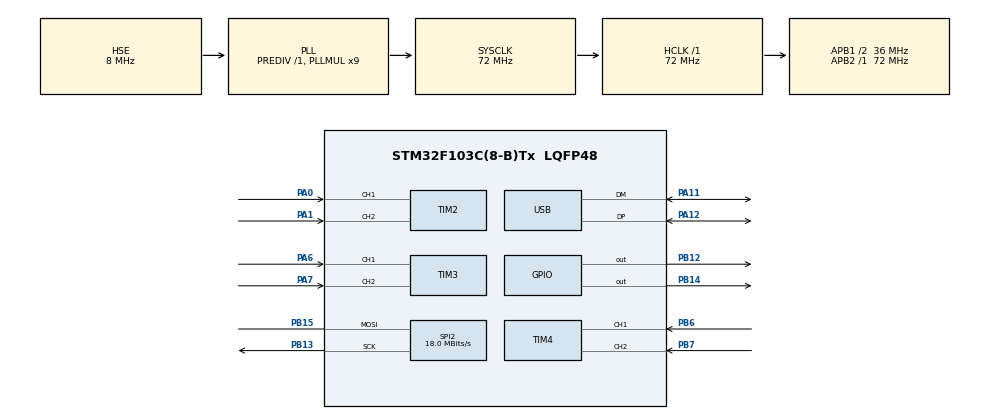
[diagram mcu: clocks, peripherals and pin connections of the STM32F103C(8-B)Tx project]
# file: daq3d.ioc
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Mcu.Family=STM32F1
Mcu.Name=STM32F103C(8-B)Tx
Mcu.Package=LQFP48
NVIC.PriorityGroup=NVIC_PRIORITYGROUP_4
NVIC.USB_LP_CAN1_RX0_IRQn=true\:0\:0\:false\:false\:true\:false\:true\:true
PA0-WKUP.Signal=S_TIM2_CH1_ETR
PA1.Signal=S_TIM2_CH2
PA11.Mode=Device
PA11.Signal=USB_DM
PA12.Mode=Device
PA12.Signal=USB_DP
PA13.Mode=Serial_Wire
PA13.Signal=SYS_JTMS-SWDIO
PA14.Mode=Serial_Wire
PA14.Signal=SYS_JTCK-SWCLK
PA6.Signal=S_TIM3_CH1
PA7.Signal=S_TIM3_CH2
PB12.Signal=GPIO_Output
PB13.Mode=Simplex_Bidirectional_Master
PB13.Signal=SPI2_SCK
PB14.Signal=GPIO_Output
PB15.Mode=Simplex_Bidirectional_Master
PB15.Signal=SPI2_MOSI
PB6.Signal=S_TIM4_CH1
PB7.Signal=S_TIM4_CH2
PD0-OSC_IN.Mode=HSE-External-Oscillator
PD0-OSC_IN.Signal=RCC_OSC_IN
PD1-OSC_OUT.Mode=HSE-External-Oscillator
PD1-OSC_OUT.Signal=RCC_OSC_OUT
ProjectManager.HeapSize=0x200
ProjectManager.StackSize=0x400
ProjectManager.TargetToolchain=STM32CubeIDE
RCC.AHBFreq_Value=72000000
RCC.APB1CLKDivider=RCC_HCLK_DIV2
RCC.APB1Freq_Value=36000000
RCC.APB1TimFreq_Value=72000000
RCC.APB2Freq_Value=72000000
RCC.APB2TimFreq_Value=72000000
RCC.HCLKFreq_Value=72000000
RCC.PLLMUL=RCC_PLL_MUL9
RCC.SYSCLKFreq_VALUE=72000000
RCC.SYSCLKSource=RCC_SYSCLKSOURCE_PLLCLK
RCC.USBFreq_Value=48000000
RCC.USBPrescaler=RCC_USBCLKSOURCE_PLL_DIV1_5
SH.S_TIM2_CH1_ETR.0=TIM2_CH1,Encoder_Interface
SH.S_TIM2_CH2.0=TIM2_CH2,Encoder_Interface
SH.S_TIM3_CH1.0=TIM3_CH1,Encoder_Interface
SH.S_TIM3_CH2.0=TIM3_CH2,Encoder_Interface
SH.S_TIM4_CH1.0=TIM4_CH1,Encoder_Interface
SH.S_TIM4_CH2.0=TIM4_CH2,Encoder_Interface
SPI2.CalculateBaudRate=18.0 MBits/s
SPI2.DataSize=SPI_DATASIZE_16BIT
SPI2.Direction=SPI_DIRECTION_1LINE
SPI2.Mode=SPI_MODE_MASTER
SPI2.VirtualType=VM_MASTER
TIM2.EncoderMode=TIM_ENCODERMODE_TI12
TIM3.EncoderMode=TIM_ENCODERMODE_TI12
TIM4.EncoderMode=TIM_ENCODERMODE_TI12
USB_DEVICE.CLASS_NAME_FS=CDC
USB_DEVICE.VirtualMode=Cdc
USB_DEVICE.VirtualModeFS=Cdc_FS
VP_USB_DEVICE_VS_USB_DEVICE_CDC_FS.Mode=CDC_FS
board=custom

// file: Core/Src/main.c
/* USER CODE BEGIN Header */
/**
  ******************************************************************************
  * @file           : main.c
  * @brief          : Main program body
  ******************************************************************************
  * @attention
  *
  * Copyright (c) 2022 STMicroelectronics.
  * All rights reserved.
  *
  * This software is licensed under terms that can be found in the LICENSE file
  * in the root directory of this software component.
  * If no LICENSE file comes with this software, it is provided AS-IS.
  *
  ******************************************************************************
  */
/* USER CODE END Header */
#include "main.h"
#include "usb_device.h"

/* USER CODE BEGIN Includes */

#include "usbd_cdc_if.h"

/* USER CODE END Includes */

SPI_HandleTypeDef hspi2;

TIM_HandleTypeDef htim2;
TIM_HandleTypeDef htim3;
TIM_HandleTypeDef htim4;

/* USER CODE BEGIN PV */

int16_t encoder_value[3];

uint8_t received_data[6];
uint16_t dac_value_12bit[3];
uint16_t dac_command;

uint8_t flag=0;

uint32_t last_time;

/* USER CODE END PV */

void SystemClock_Config(void);
static void MX_GPIO_Init(void);
static void MX_SPI2_Init(void);
static void MX_TIM2_Init(void);
static void MX_TIM3_Init(void);
static void MX_TIM4_Init(void);

/* USER CODE BEGIN 0 */

// This function creates the needed command to send DAC chips
// The least 12 bits of value variable is evaluated, thus, assign 12 bit values to this variable.
uint16_t create_DAC_cmd(uint16_t value, uint8_t dac_ch)
{
	uint16_t data = 0;

	value = 4095 - value;

	data |= (dac_ch << 15); 	// If dac_ch is 0, then DAC_A, and if dac_ch is 1, DAC_B will be selected.
	data |= (0      << 14); 	// V_ref Input Buffer = Unbuffered
	data |= (1      << 13); 	// Output Gain is 1
	data |= (1      << 12);     // Active mode operation
	data |= (value & 0x0FFF);	// 12 bit of value assigned to data

	return data;
}

/* USER CODE END 0 */

int main(void)
{

  /* MCU Configuration--------------------------------------------------------*/

  /* Reset of all peripherals, Initializes the Flash interface and the Systick. */
  HAL_Init();

  /* Configure the system clock */
  SystemClock_Config();

  /* Initialize all configured peripherals */
  MX_GPIO_Init();
  MX_SPI2_Init();
  MX_TIM2_Init();
  MX_TIM3_Init();
  MX_TIM4_Init();
  MX_USB_DEVICE_Init();
  /* USER CODE BEGIN 2 */

	// Encoder Initialization
	HAL_TIM_Encoder_Start(&htim2, TIM_CHANNEL_ALL);
	HAL_TIM_Encoder_Start(&htim3, TIM_CHANNEL_ALL);
	HAL_TIM_Encoder_Start(&htim4, TIM_CHANNEL_ALL);

	// SPI Initialization
	HAL_GPIO_WritePin(GPIOB, GPIO_PIN_12 | GPIO_PIN_14, GPIO_PIN_SET); // Chip selects are set HIGH

  /* USER CODE END 2 */

  /* Infinite loop */
  /* USER CODE BEGIN WHILE */
  while (1)
  {
		if (flag == 1) {

			///////////////////////////////WRITE to DAC///////////////////////////////////
			// Reading 12-bit DAC values from MATLAB
			dac_value_12bit[0] = (received_data[0] | (received_data[1] << 8));
			dac_value_12bit[1] = (received_data[2] | (received_data[3] << 8));
			dac_value_12bit[2] = (received_data[4] | (received_data[5] << 8));

			// Writing to MCP4921
			dac_command = create_DAC_cmd(dac_value_12bit[0], 0);

			HAL_GPIO_WritePin(GPIOB, GPIO_PIN_12, GPIO_PIN_RESET);
			HAL_SPI_Transmit(&hspi2, (uint8_t *) &dac_command, 1, 100);
			HAL_GPIO_WritePin(GPIOB, GPIO_PIN_12, GPIO_PIN_SET);

			// Writing to MCP4922 A Channel
			dac_command = create_DAC_cmd(dac_value_12bit[1], 0);

			HAL_GPIO_WritePin(GPIOB, GPIO_PIN_14, GPIO_PIN_RESET);
			HAL_SPI_Transmit(&hspi2, (uint8_t *) &dac_command, 1, 100);
			HAL_GPIO_WritePin(GPIOB, GPIO_PIN_14, GPIO_PIN_SET);

			// Writing to MCP4922 B Channel
			dac_command = create_DAC_cmd(dac_value_12bit[2], 1);

			HAL_GPIO_WritePin(GPIOB, GPIO_PIN_14, GPIO_PIN_RESET);
			HAL_SPI_Transmit(&hspi2, (uint8_t *) &dac_command, 1, 100);
			HAL_GPIO_WritePin(GPIOB, GPIO_PIN_14, GPIO_PIN_SET);

			///////////////////////////////READ ENCODERS//////////////////////////////////
			// Reading encoder values from manipulator
			encoder_value[0] = __HAL_TIM_GET_COUNTER(&htim3);
			encoder_value[1] = __HAL_TIM_GET_COUNTER(&htim2);
			encoder_value[2] = __HAL_TIM_GET_COUNTER(&htim4);

			// Sending the read encoder values to MATLAB
			CDC_Transmit_FS((uint8_t*) &encoder_value, 6);

			flag = 0;

			last_time = HAL_GetTick();

		}

		//if 200ms no data is incoming, then make the outputs 0V
		//sending to DAC 2047 value = sending 0V to the motors
		else if(((last_time+200) < HAL_GetTick()) && (flag == 0)){

			dac_value_12bit[0] = 2047;
			dac_value_12bit[1] = 2047;
			dac_value_12bit[2] = 2047;

			// Writing to MCP4921
			dac_command = create_DAC_cmd(dac_value_12bit[0], 0);

			HAL_GPIO_WritePin(GPIOB, GPIO_PIN_12, GPIO_PIN_RESET);
			HAL_SPI_Transmit(&hspi2, (uint8_t *) &dac_command, 1, 100);
			HAL_GPIO_WritePin(GPIOB, GPIO_PIN_12, GPIO_PIN_SET);

			// Writing to MCP4922 A Channel
			dac_command = create_DAC_cmd(dac_value_12bit[1], 0);

			HAL_GPIO_WritePin(GPIOB, GPIO_PIN_14, GPIO_PIN_RESET);
			HAL_SPI_Transmit(&hspi2, (uint8_t *) &dac_command, 1, 100);
			HAL_GPIO_WritePin(GPIOB, GPIO_PIN_14, GPIO_PIN_SET);

			// Writing to MCP4922 B Channel
			dac_command = create_DAC_cmd(dac_value_12bit[2], 1);

			HAL_GPIO_WritePin(GPIOB, GPIO_PIN_14, GPIO_PIN_RESET);
			HAL_SPI_Transmit(&hspi2, (uint8_t *) &dac_command, 1, 100);
			HAL_GPIO_WritePin(GPIOB, GPIO_PIN_14, GPIO_PIN_SET);

			// Resetting Encoder counters
			__HAL_TIM_SET_COUNTER(&htim3, 0);
			__HAL_TIM_SET_COUNTER(&htim2, 0);
			__HAL_TIM_SET_COUNTER(&htim4, 0);

		}

    /* USER CODE END WHILE */

  }
}

void SystemClock_Config(void)
{
  RCC_OscInitTypeDef RCC_OscInitStruct = {0};
  RCC_ClkInitTypeDef RCC_ClkInitStruct = {0};
  RCC_PeriphCLKInitTypeDef PeriphClkInit = {0};

  /** Initializes the RCC Oscillators according to the specified parameters
  * in the RCC_OscInitTypeDef structure.
  */
  RCC_OscInitStruct.OscillatorType = RCC_OSCILLATORTYPE_HSE;
  RCC_OscInitStruct.HSEState = RCC_HSE_ON;
  RCC_OscInitStruct.HSEPredivValue = RCC_HSE_PREDIV_DIV1;
  RCC_OscInitStruct.HSIState = RCC_HSI_ON;
  RCC_OscInitStruct.PLL.PLLState = RCC_PLL_ON;
  RCC_OscInitStruct.PLL.PLLSource = RCC_PLLSOURCE_HSE;
  RCC_OscInitStruct.PLL.PLLMUL = RCC_PLL_MUL9;
  if (HAL_RCC_OscConfig(&RCC_OscInitStruct) != HAL_OK)
  {
    Error_Handler();
  }

  /** Initializes the CPU, AHB and APB buses clocks
  */
  RCC_ClkInitStruct.ClockType = RCC_CLOCKTYPE_HCLK|RCC_CLOCKTYPE_SYSCLK
                              |RCC_CLOCKTYPE_PCLK1|RCC_CLOCKTYPE_PCLK2;
  RCC_ClkInitStruct.SYSCLKSource = RCC_SYSCLKSOURCE_PLLCLK;
  RCC_ClkInitStruct.AHBCLKDivider = RCC_SYSCLK_DIV1;
  RCC_ClkInitStruct.APB1CLKDivider = RCC_HCLK_DIV2;
  RCC_ClkInitStruct.APB2CLKDivider = RCC_HCLK_DIV1;

  if (HAL_RCC_ClockConfig(&RCC_ClkInitStruct, FLASH_LATENCY_2) != HAL_OK)
  {
    Error_Handler();
  }
  PeriphClkInit.PeriphClockSelection = RCC_PERIPHCLK_USB;
  PeriphClkInit.UsbClockSelection = RCC_USBCLKSOURCE_PLL_DIV1_5;
  if (HAL_RCCEx_PeriphCLKConfig(&PeriphClkInit) != HAL_OK)
  {
    Error_Handler();
  }
}

static void MX_SPI2_Init(void)
{

  /* SPI2 parameter configuration*/
  hspi2.Instance = SPI2;
  hspi2.Init.Mode = SPI_MODE_MASTER;
  hspi2.Init.Direction = SPI_DIRECTION_1LINE;
  hspi2.Init.DataSize = SPI_DATASIZE_16BIT;
  hspi2.Init.CLKPolarity = SPI_POLARITY_LOW;
  hspi2.Init.CLKPhase = SPI_PHASE_1EDGE;
  hspi2.Init.NSS = SPI_NSS_SOFT;
  hspi2.Init.BaudRatePrescaler = SPI_BAUDRATEPRESCALER_2;
  hspi2.Init.FirstBit = SPI_FIRSTBIT_MSB;
  hspi2.Init.TIMode = SPI_TIMODE_DISABLE;
  hspi2.Init.CRCCalculation = SPI_CRCCALCULATION_DISABLE;
  hspi2.Init.CRCPolynomial = 10;
  if (HAL_SPI_Init(&hspi2) != HAL_OK)
  {
    Error_Handler();
  }

}

static void MX_TIM2_Init(void)
{

  TIM_Encoder_InitTypeDef sConfig = {0};
  TIM_MasterConfigTypeDef sMasterConfig = {0};

  htim2.Instance = TIM2;
  htim2.Init.Prescaler = 0;
  htim2.Init.CounterMode = TIM_COUNTERMODE_UP;
  htim2.Init.Period = 65535;
  htim2.Init.ClockDivision = TIM_CLOCKDIVISION_DIV1;
  htim2.Init.AutoReloadPreload = TIM_AUTORELOAD_PRELOAD_DISABLE;
  sConfig.EncoderMode = TIM_ENCODERMODE_TI12;
  sConfig.IC1Polarity = TIM_ICPOLARITY_RISING;
  sConfig.IC1Selection = TIM_ICSELECTION_DIRECTTI;
  sConfig.IC1Prescaler = TIM_ICPSC_DIV1;
  sConfig.IC1Filter = 0;
  sConfig.IC2Polarity = TIM_ICPOLARITY_RISING;
  sConfig.IC2Selection = TIM_ICSELECTION_DIRECTTI;
  sConfig.IC2Prescaler = TIM_ICPSC_DIV1;
  sConfig.IC2Filter = 0;
  if (HAL_TIM_Encoder_Init(&htim2, &sConfig) != HAL_OK)
  {
    Error_Handler();
  }
  sMasterConfig.MasterOutputTrigger = TIM_TRGO_RESET;
  sMasterConfig.MasterSlaveMode = TIM_MASTERSLAVEMODE_DISABLE;
  if (HAL_TIMEx_MasterConfigSynchronization(&htim2, &sMasterConfig) != HAL_OK)
  {
    Error_Handler();
  }

}

static void MX_TIM3_Init(void)
{

  TIM_Encoder_InitTypeDef sConfig = {0};
  TIM_MasterConfigTypeDef sMasterConfig = {0};

  htim3.Instance = TIM3;
  htim3.Init.Prescaler = 0;
  htim3.Init.CounterMode = TIM_COUNTERMODE_UP;
  htim3.Init.Period = 65535;
  htim3.Init.ClockDivision = TIM_CLOCKDIVISION_DIV1;
  htim3.Init.AutoReloadPreload = TIM_AUTORELOAD_PRELOAD_DISABLE;
  sConfig.EncoderMode = TIM_ENCODERMODE_TI12;
  sConfig.IC1Polarity = TIM_ICPOLARITY_RISING;
  sConfig.IC1Selection = TIM_ICSELECTION_DIRECTTI;
  sConfig.IC1Prescaler = TIM_ICPSC_DIV1;
  sConfig.IC1Filter = 0;
  sConfig.IC2Polarity = TIM_ICPOLARITY_RISING;
  sConfig.IC2Selection = TIM_ICSELECTION_DIRECTTI;
  sConfig.IC2Prescaler = TIM_ICPSC_DIV1;
  sConfig.IC2Filter = 0;
  if (HAL_TIM_Encoder_Init(&htim3, &sConfig) != HAL_OK)
  {
    Error_Handler();
  }
  sMasterConfig.MasterOutputTrigger = TIM_TRGO_RESET;
  sMasterConfig.MasterSlaveMode = TIM_MASTERSLAVEMODE_DISABLE;
  if (HAL_TIMEx_MasterConfigSynchronization(&htim3, &sMasterConfig) != HAL_OK)
  {
    Error_Handler();
  }

}

static void MX_TIM4_Init(void)
{

  TIM_Encoder_InitTypeDef sConfig = {0};
  TIM_MasterConfigTypeDef sMasterConfig = {0};

  htim4.Instance = TIM4;
  htim4.Init.Prescaler = 0;
  htim4.Init.CounterMode = TIM_COUNTERMODE_UP;
  htim4.Init.Period = 65535;
  htim4.Init.ClockDivision = TIM_CLOCKDIVISION_DIV1;
  htim4.Init.AutoReloadPreload = TIM_AUTORELOAD_PRELOAD_DISABLE;
  sConfig.EncoderMode = TIM_ENCODERMODE_TI12;
  sConfig.IC1Polarity = TIM_ICPOLARITY_RISING;
  sConfig.IC1Selection = TIM_ICSELECTION_DIRECTTI;
  sConfig.IC1Prescaler = TIM_ICPSC_DIV1;
  sConfig.IC1Filter = 0;
  sConfig.IC2Polarity = TIM_ICPOLARITY_RISING;
  sConfig.IC2Selection = TIM_ICSELECTION_DIRECTTI;
  sConfig.IC2Prescaler = TIM_ICPSC_DIV1;
  sConfig.IC2Filter = 0;
  if (HAL_TIM_Encoder_Init(&htim4, &sConfig) != HAL_OK)
  {
    Error_Handler();
  }
  sMasterConfig.MasterOutputTrigger = TIM_TRGO_RESET;
  sMasterConfig.MasterSlaveMode = TIM_MASTERSLAVEMODE_DISABLE;
  if (HAL_TIMEx_MasterConfigSynchronization(&htim4, &sMasterConfig) != HAL_OK)
  {
    Error_Handler();
  }

}

static void MX_GPIO_Init(void)
{
  GPIO_InitTypeDef GPIO_InitStruct = {0};

  /* GPIO Ports Clock Enable */
  __HAL_RCC_GPIOD_CLK_ENABLE();
  __HAL_RCC_GPIOA_CLK_ENABLE();
  __HAL_RCC_GPIOB_CLK_ENABLE();

  /*Configure GPIO pin Output Level */
  HAL_GPIO_WritePin(GPIOB, GPIO_PIN_12|GPIO_PIN_14, GPIO_PIN_RESET);

  /*Configure GPIO pins : PB12 PB14 */
  GPIO_InitStruct.Pin = GPIO_PIN_12|GPIO_PIN_14;
  GPIO_InitStruct.Mode = GPIO_MODE_OUTPUT_PP;
  GPIO_InitStruct.Pull = GPIO_NOPULL;
  GPIO_InitStruct.Speed = GPIO_SPEED_FREQ_LOW;
  HAL_GPIO_Init(GPIOB, &GPIO_InitStruct);

}

void Error_Handler(void)
{
  __disable_irq();
  while (1)
  {
  }
}
